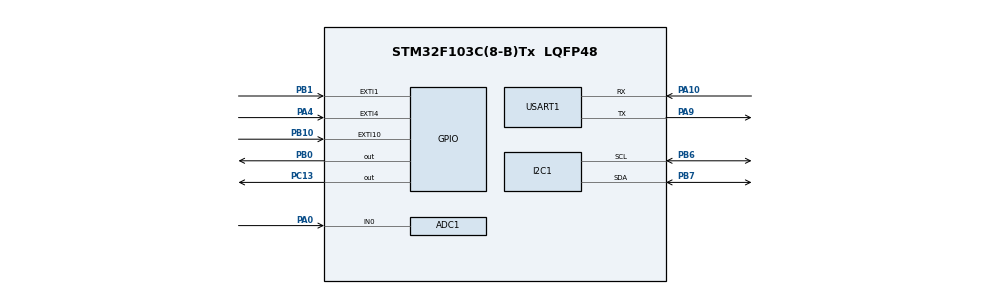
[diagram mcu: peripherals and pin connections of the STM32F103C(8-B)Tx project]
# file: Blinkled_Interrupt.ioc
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ADC1.Channel-0\#ChannelRegularConversion=ADC_CHANNEL_0
ADC1.NbrOfConversionFlag=1
ADC1.Rank-0\#ChannelRegularConversion=1
ADC1.SamplingTime-0\#ChannelRegularConversion=ADC_SAMPLETIME_1CYCLE_5
ADC1.master=1
Mcu.Family=STM32F1
Mcu.Name=STM32F103C(8-B)Tx
Mcu.Package=LQFP48
NVIC.EXTI15_10_IRQn=true\:0\:0\:false\:false\:true\:true\:true\:true
NVIC.EXTI1_IRQn=true\:0\:0\:false\:false\:true\:true\:true\:true
NVIC.EXTI4_IRQn=true\:0\:0\:false\:false\:true\:true\:true\:true
NVIC.PriorityGroup=NVIC_PRIORITYGROUP_4
PA0-WKUP.Signal=ADCx_IN0
PA10.Mode=Asynchronous
PA10.Signal=USART1_RX
PA13.Mode=Serial_Wire
PA13.Signal=SYS_JTMS-SWDIO
PA14.Mode=Serial_Wire
PA14.Signal=SYS_JTCK-SWCLK
PA4.GPIO_ModeDefaultEXTI=GPIO_MODE_IT_FALLING
PA4.GPIO_PuPd=GPIO_PULLUP
PA4.Signal=GPXTI4
PA9.Mode=Asynchronous
PA9.Signal=USART1_TX
PB0.Signal=GPIO_Output
PB1.GPIO_ModeDefaultEXTI=GPIO_MODE_IT_FALLING
PB1.GPIO_PuPd=GPIO_PULLUP
PB1.Signal=GPXTI1
PB10.GPIO_ModeDefaultEXTI=GPIO_MODE_IT_FALLING
PB10.GPIO_PuPd=GPIO_PULLUP
PB10.Signal=GPXTI10
PB6.Mode=I2C
PB6.Signal=I2C1_SCL
PB7.Mode=I2C
PB7.Signal=I2C1_SDA
PC13-TAMPER-RTC.Signal=GPIO_Output
PD0-OSC_IN.Mode=HSE-External-Oscillator
PD0-OSC_IN.Signal=RCC_OSC_IN
PD1-OSC_OUT.Mode=HSE-External-Oscillator
PD1-OSC_OUT.Signal=RCC_OSC_OUT
ProjectManager.HeapSize=0x200
ProjectManager.StackSize=0x400
ProjectManager.TargetToolchain=MDK-ARM V5.32
RCC.APB1Freq_Value=8000000
RCC.APB2Freq_Value=8000000
RTC.Hours=11
RTC.Minutes=20
RTC.Year=23
SH.ADCx_IN0.0=ADC1_IN0,IN0
TIM1.Period=499
TIM1.Prescaler=15999
USART1.VirtualMode=VM_ASYNC
VP_RTC_VS_RTC_Activate.Mode=RTC_Enabled
VP_RTC_VS_RTC_Calendar.Mode=RTC_Calendar
VP_TIM1_VS_ClockSourceINT.Mode=Internal
board=custom

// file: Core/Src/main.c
/* USER CODE BEGIN Header */
/**
  ******************************************************************************
  * @file           : main.c
  * @brief          : Main program body
  ******************************************************************************
  * @attention
  *
  * Copyright (c) 2023 STMicroelectronics.
  * All rights reserved.
  *
  * This software is licensed under terms that can be found in the LICENSE file
  * in the root directory of this software component.
  * If no LICENSE file comes with this software, it is provided AS-IS.
  *
  ******************************************************************************
  */
/* USER CODE END Header */
#include "main.h"

/* USER CODE BEGIN Includes */
#include <stdio.h>
#include "CLCD_I2C.h"
/* USER CODE END Includes */

/* USER CODE BEGIN PD */
char a[5];
char b[30];
char lcd_data[100];
uint8_t x=100;
uint8_t msg[30];
uint32_t count=0;
uint32_t var=0;
uint32_t gas;
uint32_t screen_mode =1;
uint32_t activity_mode=1;
uint8_t fan_mode;
/* USER CODE END PD */

ADC_HandleTypeDef hadc1;

I2C_HandleTypeDef hi2c1;

RTC_HandleTypeDef hrtc;

TIM_HandleTypeDef htim1;

UART_HandleTypeDef huart1;

/* USER CODE BEGIN PV */
CLCD_I2C_Name LCD1;
/* USER CODE END PV */

void SystemClock_Config(void);
static void MX_GPIO_Init(void);
static void MX_TIM1_Init(void);
static void MX_ADC1_Init(void);
static void MX_I2C1_Init(void);
static void MX_USART1_UART_Init(void);
static void MX_RTC_Init(void);

int main(void)
{

  /* MCU Configuration--------------------------------------------------------*/

  /* Reset of all peripherals, Initializes the Flash interface and the Systick. */
  HAL_Init();

  /* USER CODE BEGIN Init */
	RTC_TimeTypeDef Ttime;
	RTC_TimeTypeDef Tdate;

  /* USER CODE END Init */

  /* Configure the system clock */
  SystemClock_Config();

  /* Initialize all configured peripherals */
  MX_GPIO_Init();
  MX_TIM1_Init();
  MX_ADC1_Init();
  MX_I2C1_Init();
  MX_USART1_UART_Init();
  MX_RTC_Init();
  /* USER CODE BEGIN 2 */
	CLCD_I2C_Init(&LCD1,&hi2c1,0x4e,16,2);
  /* USER CODE END 2 */

  /* Infinite loop */
  /* USER CODE BEGIN WHILE */
  while (1)
  {
		if (screen_mode == 1) {
			HAL_ADC_Start(&hadc1);
			HAL_Delay(1000);
			var=HAL_ADC_GetValue(&hadc1);
			HAL_ADC_Stop(&hadc1);

			gas=var*100/4095;
			CLCD_I2C_SetCursor(&LCD1,0,0);
			CLCD_I2C_WriteString(&LCD1,"Nong Do:   %");
			CLCD_I2C_SetCursor(&LCD1,8,0);
			sprintf(a,"%d ", gas);
			CLCD_I2C_WriteString(&LCD1,a);

			HAL_RTC_GetTime(&hrtc,&Ttime,RTC_FORMAT_BIN);
			sprintf(lcd_data,"%d:%02d:%02d     ",Ttime.Hours,Ttime.Minutes,Ttime.Seconds);
			CLCD_I2C_SetCursor(&LCD1,0,1);
			CLCD_I2C_WriteString(&LCD1,lcd_data);
		} else if (screen_mode == 2) {

      CLCD_I2C_SetCursor(&LCD1, 0, 0);
			CLCD_I2C_WriteString(&LCD1,"      Mode     ");
			CLCD_I2C_SetCursor(&LCD1, 0, 1);
			sprintf(b,"       %d    ",fan_mode);
			if(activity_mode==1)
				{
				CLCD_I2C_WriteString(&LCD1,"      Auto    ");
				}else if(activity_mode == 2){
				CLCD_I2C_WriteString(&LCD1,"     Manual  ");
				/*CLCD_I2C_WriteString(&LCD1,b);*/
				}
		}

		if (gas > 25&& activity_mode == 1)
		{
			HAL_GPIO_WritePin(GPIOB,GPIO_PIN_0,1);
		}
			else if(gas < 20 &&activity_mode ==1)
		{
			HAL_GPIO_WritePin(GPIOB,GPIO_PIN_0,0);
		}

		sprintf(msg,"Nong do khi gas %d \n\r",gas);
		HAL_UART_Transmit(&huart1,msg,sizeof(msg),10);

		HAL_Delay(500);
    /* USER CODE END WHILE */

  }
}

void SystemClock_Config(void)
{
  RCC_OscInitTypeDef RCC_OscInitStruct = {0};
  RCC_ClkInitTypeDef RCC_ClkInitStruct = {0};
  RCC_PeriphCLKInitTypeDef PeriphClkInit = {0};

  /** Initializes the RCC Oscillators according to the specified parameters
  * in the RCC_OscInitTypeDef structure.
  */
  RCC_OscInitStruct.OscillatorType = RCC_OSCILLATORTYPE_HSI|RCC_OSCILLATORTYPE_LSI;
  RCC_OscInitStruct.HSIState = RCC_HSI_ON;
  RCC_OscInitStruct.HSICalibrationValue = RCC_HSICALIBRATION_DEFAULT;
  RCC_OscInitStruct.LSIState = RCC_LSI_ON;
  RCC_OscInitStruct.PLL.PLLState = RCC_PLL_NONE;
  if (HAL_RCC_OscConfig(&RCC_OscInitStruct) != HAL_OK)
  {
    Error_Handler();
  }

  /** Initializes the CPU, AHB and APB buses clocks
  */
  RCC_ClkInitStruct.ClockType = RCC_CLOCKTYPE_HCLK|RCC_CLOCKTYPE_SYSCLK
                              |RCC_CLOCKTYPE_PCLK1|RCC_CLOCKTYPE_PCLK2;
  RCC_ClkInitStruct.SYSCLKSource = RCC_SYSCLKSOURCE_HSI;
  RCC_ClkInitStruct.AHBCLKDivider = RCC_SYSCLK_DIV1;
  RCC_ClkInitStruct.APB1CLKDivider = RCC_HCLK_DIV1;
  RCC_ClkInitStruct.APB2CLKDivider = RCC_HCLK_DIV1;

  if (HAL_RCC_ClockConfig(&RCC_ClkInitStruct, FLASH_LATENCY_0) != HAL_OK)
  {
    Error_Handler();
  }
  PeriphClkInit.PeriphClockSelection = RCC_PERIPHCLK_RTC|RCC_PERIPHCLK_ADC;
  PeriphClkInit.RTCClockSelection = RCC_RTCCLKSOURCE_LSI;
  PeriphClkInit.AdcClockSelection = RCC_ADCPCLK2_DIV2;
  if (HAL_RCCEx_PeriphCLKConfig(&PeriphClkInit) != HAL_OK)
  {
    Error_Handler();
  }
}

static void MX_ADC1_Init(void)
{

  ADC_ChannelConfTypeDef sConfig = {0};

  /** Common config
  */
  hadc1.Instance = ADC1;
  hadc1.Init.ScanConvMode = ADC_SCAN_DISABLE;
  hadc1.Init.ContinuousConvMode = DISABLE;
  hadc1.Init.DiscontinuousConvMode = DISABLE;
  hadc1.Init.ExternalTrigConv = ADC_SOFTWARE_START;
  hadc1.Init.DataAlign = ADC_DATAALIGN_RIGHT;
  hadc1.Init.NbrOfConversion = 1;
  if (HAL_ADC_Init(&hadc1) != HAL_OK)
  {
    Error_Handler();
  }

  /** Configure Regular Channel
  */
  sConfig.Channel = ADC_CHANNEL_0;
  sConfig.Rank = ADC_REGULAR_RANK_1;
  sConfig.SamplingTime = ADC_SAMPLETIME_1CYCLE_5;
  if (HAL_ADC_ConfigChannel(&hadc1, &sConfig) != HAL_OK)
  {
    Error_Handler();
  }

}

static void MX_I2C1_Init(void)
{

  hi2c1.Instance = I2C1;
  hi2c1.Init.ClockSpeed = 100000;
  hi2c1.Init.DutyCycle = I2C_DUTYCYCLE_2;
  hi2c1.Init.OwnAddress1 = 0;
  hi2c1.Init.AddressingMode = I2C_ADDRESSINGMODE_7BIT;
  hi2c1.Init.DualAddressMode = I2C_DUALADDRESS_DISABLE;
  hi2c1.Init.OwnAddress2 = 0;
  hi2c1.Init.GeneralCallMode = I2C_GENERALCALL_DISABLE;
  hi2c1.Init.NoStretchMode = I2C_NOSTRETCH_DISABLE;
  if (HAL_I2C_Init(&hi2c1) != HAL_OK)
  {
    Error_Handler();
  }

}

static void MX_RTC_Init(void)
{

  RTC_TimeTypeDef sTime = {0};
  RTC_DateTypeDef DateToUpdate = {0};

  /** Initialize RTC Only
  */
  hrtc.Instance = RTC;
  hrtc.Init.AsynchPrediv = RTC_AUTO_1_SECOND;
  hrtc.Init.OutPut = RTC_OUTPUTSOURCE_ALARM;
  if (HAL_RTC_Init(&hrtc) != HAL_OK)
  {
    Error_Handler();
  }

  /** Initialize RTC and set the Time and Date
  */
  sTime.Hours = 0x11;
  sTime.Minutes = 0x20;
  sTime.Seconds = 0x0;

  if (HAL_RTC_SetTime(&hrtc, &sTime, RTC_FORMAT_BCD) != HAL_OK)
  {
    Error_Handler();
  }
  DateToUpdate.WeekDay = RTC_WEEKDAY_MONDAY;
  DateToUpdate.Month = RTC_MONTH_JANUARY;
  DateToUpdate.Date = 0x1;
  DateToUpdate.Year = 0x23;

  if (HAL_RTC_SetDate(&hrtc, &DateToUpdate, RTC_FORMAT_BCD) != HAL_OK)
  {
    Error_Handler();
  }

}

static void MX_TIM1_Init(void)
{

  TIM_ClockConfigTypeDef sClockSourceConfig = {0};
  TIM_MasterConfigTypeDef sMasterConfig = {0};

  htim1.Instance = TIM1;
  htim1.Init.Prescaler = 15999;
  htim1.Init.CounterMode = TIM_COUNTERMODE_UP;
  htim1.Init.Period = 499;
  htim1.Init.ClockDivision = TIM_CLOCKDIVISION_DIV1;
  htim1.Init.RepetitionCounter = 0;
  htim1.Init.AutoReloadPreload = TIM_AUTORELOAD_PRELOAD_DISABLE;
  if (HAL_TIM_Base_Init(&htim1) != HAL_OK)
  {
    Error_Handler();
  }
  sClockSourceConfig.ClockSource = TIM_CLOCKSOURCE_INTERNAL;
  if (HAL_TIM_ConfigClockSource(&htim1, &sClockSourceConfig) != HAL_OK)
  {
    Error_Handler();
  }
  sMasterConfig.MasterOutputTrigger = TIM_TRGO_RESET;
  sMasterConfig.MasterSlaveMode = TIM_MASTERSLAVEMODE_DISABLE;
  if (HAL_TIMEx_MasterConfigSynchronization(&htim1, &sMasterConfig) != HAL_OK)
  {
    Error_Handler();
  }

}

static void MX_USART1_UART_Init(void)
{

  huart1.Instance = USART1;
  huart1.Init.BaudRate = 115200;
  huart1.Init.WordLength = UART_WORDLENGTH_8B;
  huart1.Init.StopBits = UART_STOPBITS_1;
  huart1.Init.Parity = UART_PARITY_NONE;
  huart1.Init.Mode = UART_MODE_TX_RX;
  huart1.Init.HwFlowCtl = UART_HWCONTROL_NONE;
  huart1.Init.OverSampling = UART_OVERSAMPLING_16;
  if (HAL_UART_Init(&huart1) != HAL_OK)
  {
    Error_Handler();
  }

}

static void MX_GPIO_Init(void)
{
  GPIO_InitTypeDef GPIO_InitStruct = {0};

  /* GPIO Ports Clock Enable */
  __HAL_RCC_GPIOC_CLK_ENABLE();
  __HAL_RCC_GPIOD_CLK_ENABLE();
  __HAL_RCC_GPIOA_CLK_ENABLE();
  __HAL_RCC_GPIOB_CLK_ENABLE();

  /*Configure GPIO pin Output Level */
  HAL_GPIO_WritePin(GPIOC, GPIO_PIN_13, GPIO_PIN_RESET);

  /*Configure GPIO pin Output Level */
  HAL_GPIO_WritePin(GPIOB, GPIO_PIN_0, GPIO_PIN_RESET);

  /*Configure GPIO pin : PC13 */
  GPIO_InitStruct.Pin = GPIO_PIN_13;
  GPIO_InitStruct.Mode = GPIO_MODE_OUTPUT_PP;
  GPIO_InitStruct.Pull = GPIO_NOPULL;
  GPIO_InitStruct.Speed = GPIO_SPEED_FREQ_LOW;
  HAL_GPIO_Init(GPIOC, &GPIO_InitStruct);

  /*Configure GPIO pin : PA4 */
  GPIO_InitStruct.Pin = GPIO_PIN_4;
  GPIO_InitStruct.Mode = GPIO_MODE_IT_FALLING;
  GPIO_InitStruct.Pull = GPIO_PULLUP;
  HAL_GPIO_Init(GPIOA, &GPIO_InitStruct);

  /*Configure GPIO pin : PB0 */
  GPIO_InitStruct.Pin = GPIO_PIN_0;
  GPIO_InitStruct.Mode = GPIO_MODE_OUTPUT_PP;
  GPIO_InitStruct.Pull = GPIO_NOPULL;
  GPIO_InitStruct.Speed = GPIO_SPEED_FREQ_LOW;
  HAL_GPIO_Init(GPIOB, &GPIO_InitStruct);

  /*Configure GPIO pins : PB1 PB10 */
  GPIO_InitStruct.Pin = GPIO_PIN_1|GPIO_PIN_10;
  GPIO_InitStruct.Mode = GPIO_MODE_IT_FALLING;
  GPIO_InitStruct.Pull = GPIO_PULLUP;
  HAL_GPIO_Init(GPIOB, &GPIO_InitStruct);

  /* EXTI interrupt init*/
  HAL_NVIC_SetPriority(EXTI1_IRQn, 0, 0);
  HAL_NVIC_EnableIRQ(EXTI1_IRQn);

  HAL_NVIC_SetPriority(EXTI4_IRQn, 0, 0);
  HAL_NVIC_EnableIRQ(EXTI4_IRQn);

  HAL_NVIC_SetPriority(EXTI15_10_IRQn, 0, 0);
  HAL_NVIC_EnableIRQ(EXTI15_10_IRQn);

}

/* USER CODE BEGIN 4 */
void HAL_GPIO_EXTI_Callback(uint16_t GPIO_Pin){
	switch(GPIO_Pin){
		case GPIO_PIN_4:
		if(activity_mode == 2){
			HAL_GPIO_TogglePin(GPIOB,GPIO_PIN_0);
		}
		break;

		case GPIO_PIN_1:
		for(long long x=100000;x>0;x--){};
		if(GPIO_Pin == GPIO_PIN_1)
			{
			screen_mode = (screen_mode == 1)?2:1;
			}
		break;

		case GPIO_PIN_10:
		if(screen_mode ==2)
			{
			activity_mode = (activity_mode ==1)?2:1;
			}
		break;

		default:
		break;

	}
}
/* USER CODE END 4 */

void Error_Handler(void)
{
  __disable_irq();
  while (1)
  {
  }
}
